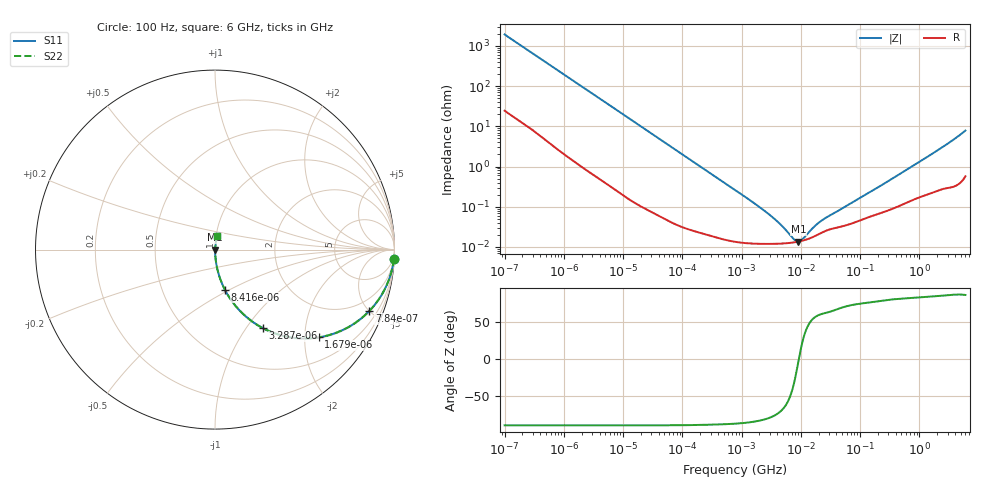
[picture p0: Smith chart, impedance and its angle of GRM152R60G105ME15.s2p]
!Murata Part Number: GRM152R60G105ME15
!These Parameters are Measured in Series Mode Connection
!Data Generated on Mar 30, 2021
!  o--ll--o
!Port1  Port2
!  o------o
!Operation Temp=25[degC], DC Bias Voltage=0[V]
!Freq. Start=100[Hz] Stop=6[GHz] 401[Steps]
# Hz S RI R 50
!Freq.(Hz) S11(Real) S11(Imag) S21(Real) S21(Imag) S12(Real) S12(Imag) S22(Real) S22(Imag)
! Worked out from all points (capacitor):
!   401 points, 100 Hz to 6 GHz, reference 50 ohm
!   read as one part in series: C = 822 nF near 109 Hz
!   lowest |Z| = 13.6 mohm at 9.09 MHz (marker M1)
!   series resonance near 9.28 MHz, so ESL is about 360 pH
!   S11 on the Smith chart (normalised r, x): 100 Hz: 1, -39; 784 Hz: 1.05, -5.00; 1.679 kHz: 1.02, -2.35; 3.287 kHz: 1.01, -1.20; 8.416 kHz: 1.00, -0.47; 6 GHz: 1.01, +0.16
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100  0.9967 -0.0516  0.00333 0.0516  0.00333 0.0516  0.9967 -0.0516
293  0.9762 -0.1465  0.0238 0.1465  0.0238 0.1465  0.9762 -0.1465
784  0.8596 -0.3421  0.1404 0.3421  0.1404 0.3421  0.8596 -0.3421
1122  0.7521 -0.4267  0.2479 0.4267  0.2479 0.4267  0.7521 -0.4267
1679  0.5788 -0.4888  0.4212 0.4888  0.4212 0.4888  0.5788 -0.4888
2008  0.4913 -0.495  0.5087 0.495  0.5087 0.495  0.4913 -0.495
3287  0.2681 -0.4381  0.7319 0.4381  0.7319 0.4381  0.2681 -0.4381
5143  0.1321 -0.3337  0.8679 0.3337  0.8679 0.3337  0.1321 -0.3337
8416  0.0549 -0.223  0.9451 0.223  0.9451 0.223  0.0549 -0.223
17227  0.0144 -0.1142  0.9856 0.1142  0.9856 0.1142  0.0144 -0.1142
40335  0.00306 -0.0496  0.9969 0.0496  0.9969 0.0496  0.00306 -0.0496
774597  0.000141 -0.00263  0.9999 0.00263  0.9999 0.00263  0.000141 -0.00263
2967816  0.000119 -0.00062  0.9999 0.00062  0.9999 0.00062  0.000119 -0.00062
4643984  0.000121 -0.00033  0.9999 0.00033  0.9999 0.00033  0.000121 -0.00033
7599586  0.00013 -8.81e-05  0.9999 8.81e-05  0.9999 8.81e-05  0.00013 -8.81e-05
9090158  0.000135 -8.9e-06  0.9999 8.9e-06  0.9999 8.9e-06  0.000135 -8.9e-06
1.087309e7  0.000144 6.9e-05  0.9999 -6.9e-05  0.9999 -6.9e-05  0.000144 6.9e-05
1.555665e7  0.000173 0.000227  0.9998 -0.000227  0.9998 -0.000227  0.000173 0.000227
2.545746e7  0.000246 0.000451  0.9998 -0.000451  0.9998 -0.000451  0.000246 0.000451
3.124326e8  0.000848 0.00443  0.9992 -0.00443  0.9992 -0.00443  0.000848 0.00443
2.34314e9  0.0035 0.0287  0.9965 -0.0287  0.9965 -0.0287  0.0035 0.0287
6e9  0.0117 0.077  0.9883 -0.077  0.9883 -0.077  0.0117 0.077
